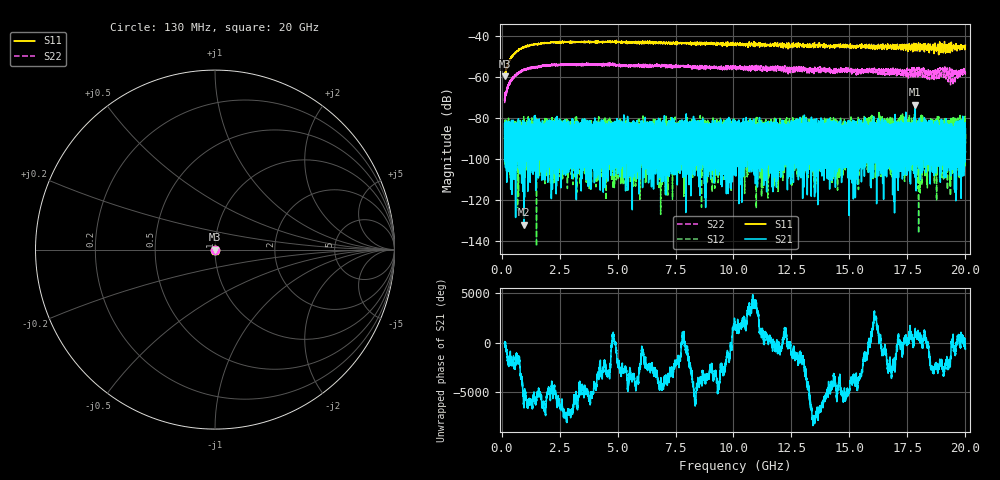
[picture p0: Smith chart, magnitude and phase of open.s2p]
!Created with skrf (http://scikit-rf.org).
# GHz S RI R 50.0
!freq ReS11 ImS11 ReS21 ImS21 ReS12 ImS12 ReS22 ImS22
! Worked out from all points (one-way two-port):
!   20013 points, 130 MHz to 20 GHz, reference 50 ohm
!   highest |S21| = -73.58 dB at 17.84 GHz (marker M1); lowest = -132.0 dB at 966 MHz (marker M2)
!   lowest |S11| = -59.8 dB at 132 MHz (marker M3), VSWR 1.00, Z = 50 - j0.0888 ohm
!   |S11| at or under -10 dB: start of sweep to end of sweep
!   |S22| runs from -72.6 to -53.3 dB; largest |S21 - S12| = 0.00019
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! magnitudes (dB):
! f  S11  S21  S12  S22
! 130 MHz  -59.3  -101.0  -89.1  -71.2
! 132 MHz  -59.8  -82.5  -90.4  -70.5
! 315 MHz  -52.7  -96.2  -84.3  -63.9
! 448 MHz  -50.2  -85.2  -86.9  -61.3
! 666 MHz  -47.5  -90.5  -89.7  -58.6
! 966 MHz  -45.8  -132.0  -92.8  -56.6
! 1.865 GHz  -43.5  -92.9  -92.1  -54.3
! 3.442 GHz  -43.1  -89.8  -82.6  -54.6
! 6.754 GHz  -43.8  -89.9  -93.1  -54.9
! 10.06 GHz  -44.3  -91.4  -94.5  -55.2
! 13.38 GHz  -45.0  -94.0  -92.9  -57.7
! 16.69 GHz  -45.9  -90.3  -87.8  -56.8
! 17.84 GHz  -47.0  -73.6  -91.8  -58.4
! 18.5 GHz  -45.4  -88.5  -87.6  -57.5
! 19.05 GHz  -48.2  -91.6  -95.6  -58.7
! 19.41 GHz  -45.1  -98.5  -89.6  -56.8
! 19.46 GHz  -46.0  -91.5  -91.9  -64.0
! 19.51 GHz  -44.9  -86.6  -91.5  -57.4
! 19.56 GHz  -46.4  -88.0  -91.6  -62.4
! 19.61 GHz  -44.9  -83.3  -88.9  -57.6
! 19.88 GHz  -45.5  -93.8  -89.5  -59.1
! 20 GHz  -44.7  -96.5  -88.1  -58.0
